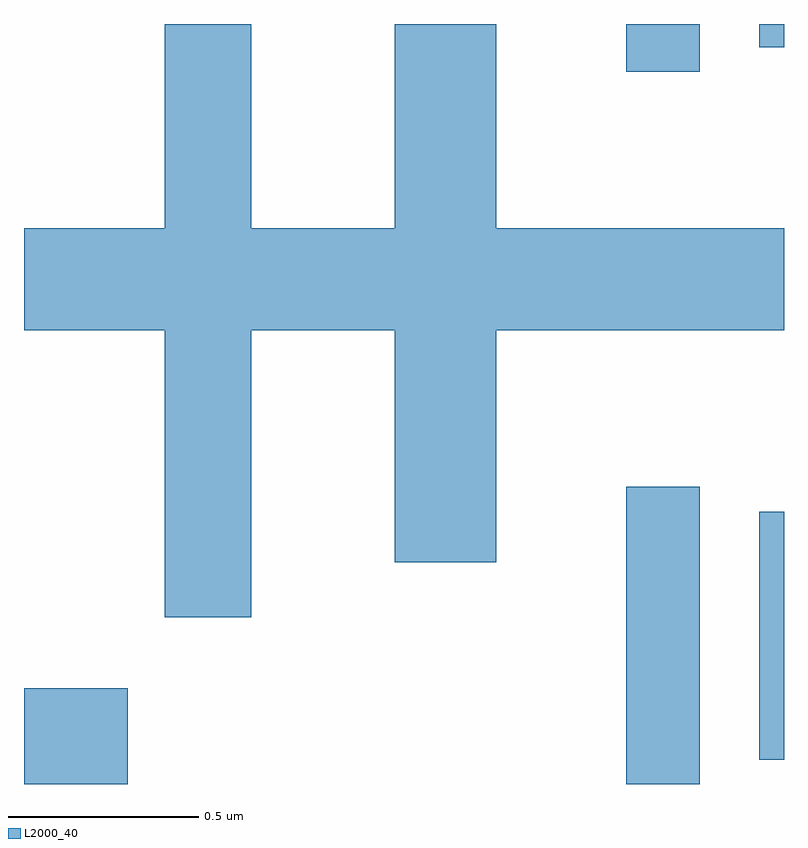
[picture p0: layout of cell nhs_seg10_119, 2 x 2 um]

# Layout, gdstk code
import gdstk
lib = gdstk.Library(unit=1e-6, precision=1e-09)
def R(c, l, rs):  # rectangles x0, y0, x1, y1
    for r in rs: c.add(gdstk.rectangle(r[:2], r[2:], *l))
def P(c, l, *ps):  # polygons
    for p in ps: c.add(gdstk.Polygon(p, *l))
L2000_40 = (2000, 40)

nhs_seg10_119 = lib.new_cell('nhs_seg10_119')
R(nhs_seg10_119, L2000_40, [(185.611,2201.522,185.884,2201.774), (187.196,2201.522,187.389,2202.304), (187.546,2201.586,187.611,2202.239), (187.196,2203.396,187.389,2203.522), (187.546,2203.461,187.611,2203.522)])
P(nhs_seg10_119, L2000_40, [(186.209,2202.716),(186.586,2202.716),(186.586,2202.106),(186.854,2202.106),(186.854,2202.716),(187.611,2202.716),(187.611,2202.984),(186.854,2202.984),(186.854,2203.522),(186.586,2203.522),(186.586,2202.984),(186.209,2202.984),(186.209,2203.522),(185.981,2203.522),(185.981,2202.984),(185.611,2202.984),(185.611,2202.716),(185.981,2202.716),(185.981,2201.961),(186.209,2201.961)])

lib.write_gds('nhs_seg10_119.gds')
